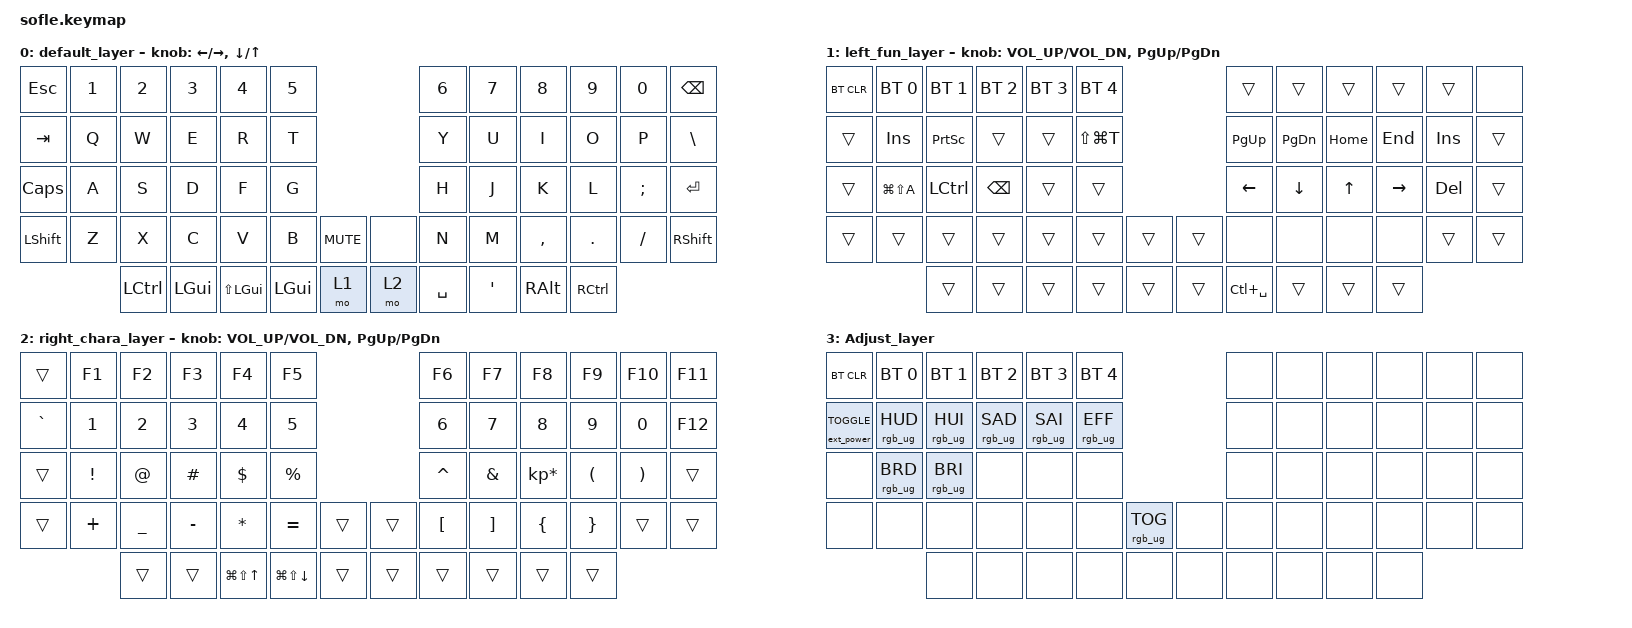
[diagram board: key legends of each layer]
/*
 * Copyright (c) 2020 The ZMK Contributors
 *
 * SPDX-License-Identifier: MIT
 */

#include <behaviors.dtsi>
#include <dt-bindings/zmk/bt.h>
#include <dt-bindings/zmk/ext_power.h>
#include <dt-bindings/zmk/keys.h>
#include <dt-bindings/zmk/rgb.h>

#define BASE 0
#define LOWER 1
#define RAISE 2
#define ADJUST 3

/ {
    // Activate ADJUST layer by pressing raise and lower

    conditional_layers {
        compatible = "zmk,conditional-layers";

        adjust_layer {
            if-layers = <2 1>;
            then-layer = <3>;
        };
    };

    keymap {
        compatible = "zmk,keymap";

        default_layer {
            // ------------------------------------------------------------------------------------------------------------
            // |  `    |  1  |  2  |  3   |  4   |  5   |                   |  6   |  7    |  8    |  9   |   0   |       |
            // |  ESC  |  Q  |  W  |  E   |  R   |  T   |                   |  Y   |  U    |  I    |  O   |   P   | BKSPC |
            // |  TAB  |  A  |  S  |  D   |  F   |  G   |                   |  H   |  J    |  K    |  L   |   ;   |   '   |
            // | SHIFT |  Z  |  X  |  C   |  V   |  B   |  MUTE  |  |       |  N   |  M    |  ,    |  .   |   /   | SHIFT |
            //               | GUI | ALT  | CTRL | LOWER|  ENTER |  | SPACE | RAISE| CTRL  | ALT   | GUI  |

            bindings = <
&kp ESCAPE  &kp N1  &kp N2     &kp N3    &kp N4        &kp N5                         &kp N6     &kp N7   &kp N8     &kp N9             &kp N0    &kp BSPC
&kp TAB     &kp Q   &kp W      &kp E     &kp R         &kp T                          &kp Y      &kp U    &kp I      &kp O              &kp P     &kp BACKSLASH
&kp CAPS    &kp A   &kp S      &kp D     &kp F         &kp G                          &kp H      &kp J    &kp K      &kp L              &kp SEMI  &kp RET
&kp LSHFT   &kp Z   &kp X      &kp C     &kp V         &kp B     &kp C_MUTE    &none  &kp N      &kp M    &kp COMMA  &kp DOT            &kp FSLH  &kp RSHFT
                    &kp LCTRL  &kp LGUI  &kp LS(LGUI)  &kp LGUI  &mo 1         &mo 2  &kp SPACE  &kp SQT  &kp RALT   &kp RIGHT_CONTROL
            >;

            sensor-bindings =
                <&inc_dec_kp LEFT_ARROW RIGHT_ARROW>,
                <&inc_dec_kp DOWN_ARROW UP_ARROW>;
        };

        left_fun_layer {
            // ------------------------------------------------------------------------------------------------------------
            // |BTCLR| BT1  | BT2  |  BT3  |  BT4  |  BT5 |                |      |      |       |      |       |       |
            // |     | INS  | PSCR | GUI   |       |      |                | PGUP |      |   ^   |      |       |       |
            // |     | ALT  | CTRL | SHIFT |       | CAPS |                | PGDN |   <- |   v   |  ->  |  DEL  | BKSPC |
            // |     | UNDO | CUT  | COPY  | PASTE |      |      |  |      |      |      |       |      |       |       |
            //              |      |       |       |      |      |  |      |      |      |       |      |

            bindings = <
&bt BT_CLR  &bt BT_SEL 0   &bt BT_SEL 1  &bt BT_SEL 2   &bt BT_SEL 3  &bt BT_SEL 4                     &trans         &trans          &trans        &trans     &trans      &none
&trans      &kp INS        &kp PSCRN     &trans         &trans        &kp LS(LG(T))                    &kp PG_UP      &kp PG_DN       &kp HOME      &kp END    &kp INSERT  &trans
&trans      &kp LG(LS(A))  &kp LCTRL     &kp BACKSPACE  &trans        &trans                           &kp LEFT       &kp DOWN_ARROW  &kp UP_ARROW  &kp RIGHT  &kp DEL     &trans
&trans      &trans         &trans        &trans         &trans        &trans         &trans    &trans  &none          &none           &none         &none      &trans      &trans
                           &trans        &trans         &trans        &trans         &trans    &trans  &kp LC(SPACE)  &trans          &trans        &trans
            >;

            sensor-bindings = <&inc_dec_kp C_VOL_UP C_VOL_DN &inc_dec_kp PG_UP PG_DN>;
        };

        right_chara_layer {
            // TODO: Some binds are waiting for shifted keycode support.
            // ------------------------------------------------------------------------------------------------------------
            // |       |  F1 |  F2 |  F3  |  F4  |  F5  |                   |  F6  |  F7   |  F8   |  F9  |  F10  |  F11  |
            // | `     |   1 |   2 |   3  |   4  |   5  |                   |   6  |   7   |   8   |   9  |    0  |  F12  |
            // |       |  !  |  @  |  #   |  $   |  %   |                   |  ^   |  &    |  *    |  (   |   )   |   |   |
            // |       |  =  |  -  |  +   |  {   |  }   |        |  |       |  [   |  ]    |  ;    |  :   |   \   |       |
            //               |     |      |      |      |        |  |       |      |       |       |      |

            bindings = <
&trans     &kp F1    &kp F2          &kp F3     &kp F4                &kp F5                                    &kp F6     &kp F7    &kp F8           &kp F9           &kp F10   &kp F11
&kp GRAVE  &kp N1    &kp N2          &kp N3     &kp N4                &kp N5                                    &kp N6     &kp N7    &kp N8           &kp N9           &kp N0    &kp F12
&trans     &kp EXCL  &kp AT          &kp HASH   &kp DLLR              &kp PRCNT                                 &kp CARET  &kp AMPS  &kp KP_MULTIPLY  &kp LPAR         &kp RPAR  &trans
&trans     &kp PLUS  &kp UNDERSCORE  &kp MINUS  &kp ASTERISK          &kp EQUAL               &trans    &trans  &kp LBKT   &kp RBKT  &kp LEFT_BRACE   &kp RIGHT_BRACE  &trans    &trans
                     &trans          &trans     &kp LG(LS(UP_ARROW))  &kp LG(LS(DOWN_ARROW))  &trans    &trans  &trans     &trans    &trans           &trans
            >;

            sensor-bindings = <&inc_dec_kp C_VOL_UP C_VOL_DN &inc_dec_kp PG_UP PG_DN>;
        };

        Adjust_layer {
            bindings = <
&bt BT_CLR                       &bt BT_SEL 0     &bt BT_SEL 1     &bt BT_SEL 2     &bt BT_SEL 3     &bt BT_SEL 4                               &none  &none  &none  &none  &none  &none
&ext_power EXT_POWER_TOGGLE_CMD  &rgb_ug RGB_HUD  &rgb_ug RGB_HUI  &rgb_ug RGB_SAD  &rgb_ug RGB_SAI  &rgb_ug RGB_EFF                            &none  &none  &none  &none  &none  &none
&none                            &rgb_ug RGB_BRD  &rgb_ug RGB_BRI  &none            &none            &none                                      &none  &none  &none  &none  &none  &none
&none                            &none            &none            &none            &none            &none            &rgb_ug RGB_TOG    &none  &none  &none  &none  &none  &none  &none
                                                  &none            &none            &none            &none            &none              &none  &none  &none  &none  &none
            >;
        };
    };
};
